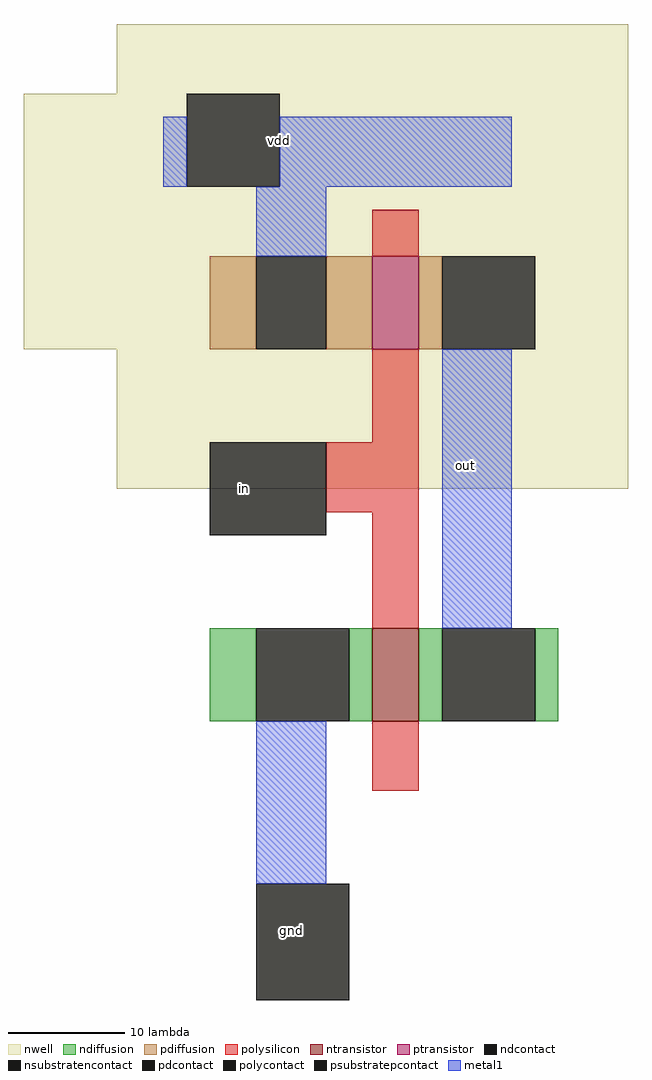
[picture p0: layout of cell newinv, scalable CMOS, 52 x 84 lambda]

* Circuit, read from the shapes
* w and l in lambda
.subckt newinv gnd in out vdd
M1 out in gnd gnd nfet w=8 l=4
M2 out in vdd vdd pfet w=8 l=4
.ends

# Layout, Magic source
magic
tech scmos
<< nwell >>
rect -2 22 42 28
rect -10 0 42 22
rect -2 -12 42 0
<< ntransistor >>
rect 20 -32 24 -24
<< ptransistor >>
rect 20 0 24 8
<< ndiffusion >>
rect 6 -32 10 -24
rect 18 -32 20 -24
rect 24 -32 26 -24
rect 34 -32 36 -24
<< pdiffusion >>
rect 6 0 10 8
rect 16 0 20 8
rect 24 0 26 8
<< ndcontact >>
rect 10 -32 18 -24
rect 26 -32 34 -24
<< pdcontact >>
rect 10 0 16 8
rect 26 0 34 8
<< psubstratepcontact >>
rect 10 -56 18 -46
<< nsubstratencontact >>
rect 4 14 12 22
<< polysilicon >>
rect 20 8 24 12
rect 20 -8 24 0
rect 16 -14 24 -8
rect 20 -24 24 -14
rect 20 -38 24 -32
<< polycontact >>
rect 6 -16 16 -8
<< metal1 >>
rect 2 14 4 20
rect 12 14 32 20
rect 10 8 16 14
rect 26 -24 32 0
rect 10 -46 16 -32
<< labels >>
rlabel metal1 12 18 12 18 1 vdd
rlabel metal1 28 -10 28 -10 1 out
rlabel polycontact 9 -12 9 -12 1 in
rlabel psubstratepcontact 13 -50 13 -50 1 gnd
<< end >>
